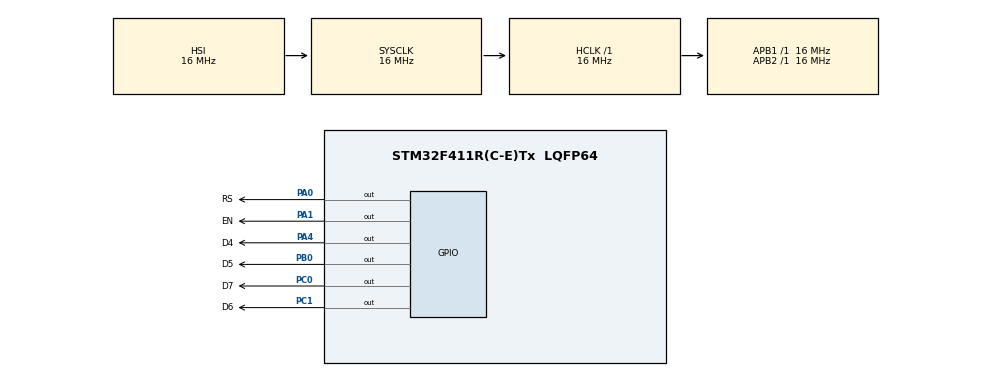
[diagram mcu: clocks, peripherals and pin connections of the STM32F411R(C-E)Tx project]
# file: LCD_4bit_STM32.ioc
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Mcu.Family=STM32F4
Mcu.Name=STM32F411R(C-E)Tx
Mcu.Package=LQFP64
NVIC.PriorityGroup=NVIC_PRIORITYGROUP_4
PA0-WKUP.GPIO_Label=RS
PA0-WKUP.Signal=GPIO_Output
PA1.GPIO_Label=EN
PA1.Signal=GPIO_Output
PA4.GPIO_Label=D4
PA4.Signal=GPIO_Output
PB0.GPIO_Label=D5
PB0.Signal=GPIO_Output
PC0.GPIO_Label=D7
PC0.Signal=GPIO_Output
PC1.GPIO_Label=D6
PC1.Signal=GPIO_Output
ProjectManager.HeapSize=0x200
ProjectManager.StackSize=0x400
ProjectManager.TargetToolchain=STM32CubeIDE
RCC.AHBFreq_Value=16000000
RCC.APB1Freq_Value=16000000
RCC.APB2Freq_Value=16000000
RCC.CortexFreq_Value=16000000
RCC.HSE_VALUE=25000000
RCC.HSI_VALUE=16000000
RCC.LSE_VALUE=32768
RCC.SYSCLKFreq_VALUE=16000000
RCC.VCOOutputFreq_Value=192000000
board=custom

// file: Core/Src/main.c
/* USER CODE BEGIN Header */
/**
  ******************************************************************************
  * @file           : main.c
  * @brief          : Main program body
  ******************************************************************************
  * @attention
  *
  * Copyright (c) 2025 STMicroelectronics.
  * All rights reserved.
  *
  * This software is licensed under terms that can be found in the LICENSE file
  * in the root directory of this software component.
  * If no LICENSE file comes with this software, it is provided AS-IS.
  *
  ******************************************************************************
  */
/* USER CODE END Header */
#include "main.h"
#include "gpio.h"

/* USER CODE BEGIN Includes */
#include "lcd_driver.h"
/* USER CODE END Includes */

/* USER CODE BEGIN PV */
char cc1[8] = {0x00, 0x00, 0x0A, 0x00, 0x11, 0x0E, 0x00, 0x00};  // smiley
char cc2[8] = {0x0E, 0x0E, 0x04, 0x0E, 0x15, 0x04, 0x0A, 0x0A};  // Robo
char cc3[8] = {0x08, 0x0C, 0x0E, 0x0F, 0x0E, 0x0C, 0x08, 0x00};  // arrow
char cc4[8] = {0x00, 0x04, 0x0E, 0x0E, 0x0E, 0x1F, 0x04, 0x00};  // bell
char cc5[8] = {0x00, 0x00, 0x0A, 0x15, 0x11, 0x0E, 0x04, 0x00};  // Heart
char cc6[8] = {0x00, 0x0E, 0x11, 0x11, 0x11, 0x0A, 0x1B, 0x00};  // omega
char cc7[8] = {0x0E, 0x10, 0x17, 0x12, 0x12, 0x12, 0x10, 0x0E};  // CT
char cc8[8] = {0x04, 0x04, 0x1F, 0x04, 0x04, 0x00, 0x1F, 0x00};  // +-
/* USER CODE END PV */

void SystemClock_Config(void);

int main(void)
{

  /* MCU Configuration--------------------------------------------------------*/

  /* Reset of all peripherals, Initializes the Flash interface and the Systick. */
  HAL_Init();

  /* Configure the system clock */
  SystemClock_Config();

  /* Initialize all configured peripherals */
  MX_GPIO_Init();
  /* USER CODE BEGIN 2 */
  lcd_init();

  create_custom_char(0,cc1);
  create_custom_char(1,cc2);
  create_custom_char(2,cc3);
  create_custom_char(3,cc4);
  create_custom_char(5,cc6);
  create_custom_char(6,cc7);
  create_custom_char(7,cc8);
  /* USER CODE END 2 */

  /* Infinite loop */
  while (1)
  {

    /* USER CODE BEGIN 3 */

	setCursor(0, 0);
	lcd_send_string("Custom characters");
	HAL_Delay(200);
	setCursor(0, 1);
	for (int i=0; i<8; i++) {display_custom_char(i); HAL_Delay(300);}
	HAL_Delay(700);
	lcd_clear();
	HAL_Delay(200);
  }
  /* USER CODE END 3 */
}

void SystemClock_Config(void)
{
  RCC_OscInitTypeDef RCC_OscInitStruct = {0};
  RCC_ClkInitTypeDef RCC_ClkInitStruct = {0};

  /** Configure the main internal regulator output voltage
  */
  __HAL_RCC_PWR_CLK_ENABLE();
  __HAL_PWR_VOLTAGESCALING_CONFIG(PWR_REGULATOR_VOLTAGE_SCALE1);

  /** Initializes the RCC Oscillators according to the specified parameters
  * in the RCC_OscInitTypeDef structure.
  */
  RCC_OscInitStruct.OscillatorType = RCC_OSCILLATORTYPE_HSI;
  RCC_OscInitStruct.HSIState = RCC_HSI_ON;
  RCC_OscInitStruct.HSICalibrationValue = RCC_HSICALIBRATION_DEFAULT;
  RCC_OscInitStruct.PLL.PLLState = RCC_PLL_NONE;
  if (HAL_RCC_OscConfig(&RCC_OscInitStruct) != HAL_OK)
  {
    Error_Handler();
  }

  /** Initializes the CPU, AHB and APB buses clocks
  */
  RCC_ClkInitStruct.ClockType = RCC_CLOCKTYPE_HCLK|RCC_CLOCKTYPE_SYSCLK
                              |RCC_CLOCKTYPE_PCLK1|RCC_CLOCKTYPE_PCLK2;
  RCC_ClkInitStruct.SYSCLKSource = RCC_SYSCLKSOURCE_HSI;
  RCC_ClkInitStruct.AHBCLKDivider = RCC_SYSCLK_DIV1;
  RCC_ClkInitStruct.APB1CLKDivider = RCC_HCLK_DIV1;
  RCC_ClkInitStruct.APB2CLKDivider = RCC_HCLK_DIV1;

  if (HAL_RCC_ClockConfig(&RCC_ClkInitStruct, FLASH_LATENCY_0) != HAL_OK)
  {
    Error_Handler();
  }
}

void Error_Handler(void)
{
  __disable_irq();
  while (1)
  {
  }
}
